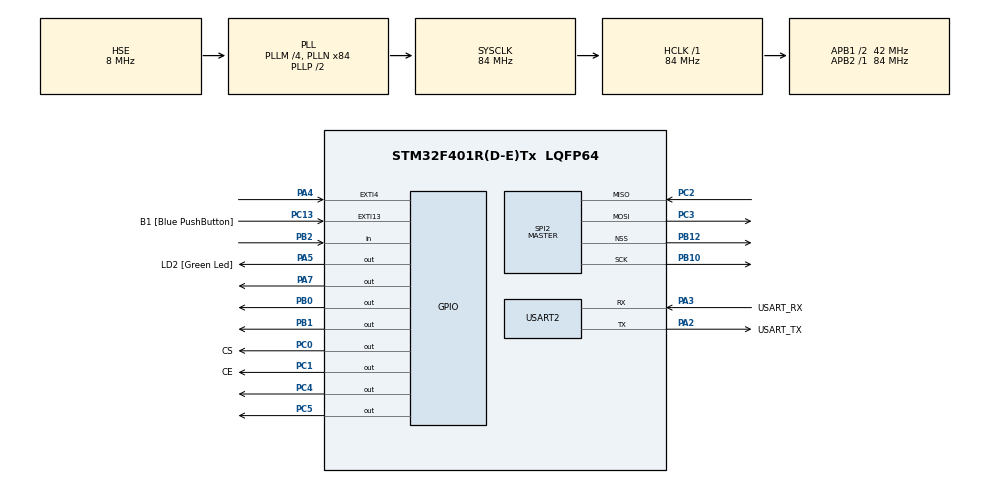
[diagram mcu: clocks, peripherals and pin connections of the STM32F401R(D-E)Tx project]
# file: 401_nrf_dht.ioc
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Mcu.Family=STM32F4
PC3.Mode=Full_Duplex_Master
PA2.GPIO_PuPd=GPIO_NOPULL
SPI2.VirtualNSS=VM_NSSHARD
RCC.CortexFreq_Value=84000000
SPI2.VirtualType=VM_MASTER
PB10.Mode=Full_Duplex_Master
PA14.GPIO_Label=TCK
PA3.GPIO_PuPd=GPIO_NOPULL
PA2.GPIO_Speed=GPIO_SPEED_FREQ_LOW
PC0.GPIO_Label=CS
PA3.GPIO_Speed=GPIO_SPEED_FREQ_LOW
RCC.SYSCLKSource=RCC_SYSCLKSOURCE_PLLCLK
ProjectManager.StackSize=0x400
PH0\ -\ OSC_IN.Signal=RCC_OSC_IN
RCC.HCLKFreq_Value=84000000
RCC.APB2TimFreq_Value=84000000
PC3.Signal=SPI2_MOSI
RCC.AHBFreq_Value=84000000
NVIC.EXTI15_10_IRQn=true\:0\:0\:false\:false\:true\:true\:true
RCC.HSE_VALUE=8000000
PB2.Signal=GPIO_Input
PC13-ANTI_TAMP.Signal=GPXTI13
PC14-OSC32_IN.Mode=LSE-External-Oscillator
PA14.Mode=Serial_Wire
PA5.GPIO_PuPd=GPIO_NOPULL
NVIC.TIM2_IRQn=true\:0\:0\:false\:false\:true\:true\:true
Mcu.Package=LQFP64
PB1.Signal=GPIO_Output
PB12.Mode=NSS_Signal_Hard_Output
SPI2.Mode=SPI_MODE_MASTER
USART2.VirtualMode=VM_ASYNC
PA2.GPIO_Label=USART_TX
RCC.APB1TimFreq_Value=84000000
SPI2.Direction=SPI_DIRECTION_2LINES
PC5.Signal=GPIO_Output
VP_TIM3_VS_ClockSourceINT.Mode=Internal
PA3.Signal=USART2_RX
PA2.GPIO_Mode=GPIO_MODE_AF_PP
PB3.GPIO_Label=SWO
RCC.PLLSourceVirtual=RCC_PLLSOURCE_HSE
PC15-OSC32_OUT.Mode=LSE-External-Oscillator
NVIC.EXTI4_IRQn=true\:0\:0\:false\:false\:true\:true\:true
PC13-ANTI_TAMP.GPIO_PuPd=GPIO_NOPULL
PC13-ANTI_TAMP.GPIO_Label=B1 [Blue PushButton]
PH1\ -\ OSC_OUT.Mode=HSE-External-Clock-Source
PC2.Signal=SPI2_MISO
PC4.Signal=GPIO_Output
PC2.Mode=Full_Duplex_Master
PC0.Signal=GPIO_Output
RCC.APB1CLKDivider=RCC_HCLK_DIV2
PC14-OSC32_IN.Signal=RCC_OSC32_IN
PA13.Signal=SYS_JTMS-SWDIO
PA3.Mode=Asynchronous
PH0\ -\ OSC_IN.Mode=HSE-External-Clock-Source
ProjectManager.TargetToolchain=TrueSTUDIO
PA3.GPIO_Mode=GPIO_MODE_AF_PP
PC15-OSC32_OUT.Signal=RCC_OSC32_OUT
PB10.Signal=SPI2_SCK
PA5.Signal=GPIO_Output
PH1\ -\ OSC_OUT.Signal=RCC_OSC_OUT
board=NUCLEO-F401RE
RCC.VCOOutputFreq_Value=168000000
NVIC.TIM3_IRQn=true\:0\:0\:false\:false\:true\:true\:true
RCC.APB2Freq_Value=84000000
VP_TIM2_VS_ClockSourceINT.Mode=Internal
PC1.GPIO_Label=CE
PA13.Mode=Serial_Wire
Mcu.Name=STM32F401R(D-E)Tx
PA2.Signal=USART2_TX
PA13.GPIO_Label=TMS
RCC.48MHZClocksFreq_Value=24000000
PB3.Signal=SYS_JTDO-SWO
PA4.Signal=GPXTI4
RCC.SYSCLKFreq_VALUE=84000000
PA5.GPIO_Label=LD2 [Green Led]
PC13-ANTI_TAMP.GPIO_ModeDefaultEXTI=GPIO_MODE_IT_FALLING
PA14.Signal=SYS_JTCK-SWCLK
ProjectManager.HeapSize=0x200
RCC.HSI_VALUE=16000000
VP_TIM4_VS_ClockSourceINT.Mode=Internal
PA5.GPIO_Speed=GPIO_SPEED_FREQ_LOW
RCC.PLLQ=7
NVIC.PriorityGroup=NVIC_PRIORITYGROUP_0
RCC.PLLM=4
RCC.PLLN=84
PA2.Mode=Asynchronous
RCC.APB1Freq_Value=42000000
PA5.GPIO_Mode=GPIO_MODE_OUTPUT_PP
PB0.Signal=GPIO_Output
PC1.Signal=GPIO_Output
PB12.Signal=SPI2_NSS
PA3.GPIO_Label=USART_RX
PA7.Signal=GPIO_Output

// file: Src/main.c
/* USER CODE BEGIN Header */
/**
  ******************************************************************************
  * @file           : main.c
  * @brief          : Main program body
  ******************************************************************************
  * @attention
  *
  * <h2><center>&copy; Copyright (c) 2020 STMicroelectronics.
  * All rights reserved.</center></h2>
  *
  * This software component is licensed by ST under BSD 3-Clause license,
  * the "License"; You may not use this file except in compliance with the
  * License. You may obtain a copy of the License at:
  *                        opensource.org/licenses/BSD-3-Clause
  *
  ******************************************************************************
  */
/* USER CODE END Header */

#include "main.h"

/* USER CODE BEGIN Includes */
#include "nrf24l01.h"
#include "string.h"
#include "stdio.h"
#include "stdint.h"
#include "stdbool.h"

extern SPI_HandleTypeDef hspi1;

static void error() {
    while (true) {
        HAL_GPIO_TogglePin(LD2_GPIO_Port, LD2_Pin);
        HAL_Delay(100);
    }
}

static const uint8_t rx_address[5] = {1, 2, 3, 4, 5};
static const uint8_t tx_address[5] = {1, 2, 3, 4, 6};
nrf24l01 nrf;
uint32_t rx_data;
void send_RF_messages (uint8_t *ffer);
static const uint8_t *intteriiger ="from interrupt   \n\r";
extern uint8_t buffer[1000];
uint16_t counter=0,flag=0;
uint8_t ffer[1000];
extern uint8_t *redata;

extern uint8_t recivingmsgflag;

/* USER CODE END Includes */

SPI_HandleTypeDef hspi2;

TIM_HandleTypeDef htim2;
TIM_HandleTypeDef htim3;
TIM_HandleTypeDef htim4;

UART_HandleTypeDef huart2;

/* USER CODE BEGIN PV */
static const char *Led_off= "ld1n";
static const char *Led_on= "ld1f";
static const char *relay1_off= "relay1_off";
static const char *relay1_on= "relay1_on";
static const char *relay2_off= "relay2_off";
static const char *relay2_on= "relay2_on";
static const char *relay3_off= "relay3_off";
static const char *relay3_on= "relay3_on";
static void parsemesage(uint8_t *recdata);
/* USER CODE END PV */

void SystemClock_Config(void);
static void MX_GPIO_Init(void);
static void MX_SPI2_Init(void);
static void MX_TIM2_Init(void);
static void MX_TIM3_Init(void);
static void MX_TIM4_Init(void);
static void MX_USART2_UART_Init(void);

int main(void)
{

  /* MCU Configuration--------------------------------------------------------*/

  /* Reset of all peripherals, Initializes the Flash interface and he Systick. */
  HAL_Init();

  /* USER CODE BEGIN Init */
  uint8_t buffer[4];
  /* USER CODE END Init */

  /* Configure the system clock */
  SystemClock_Config();

  /* Initialize all configured peripherals */
  MX_GPIO_Init();
  MX_SPI2_Init();
  MX_TIM2_Init();
  MX_TIM3_Init();
  MX_TIM4_Init();
  MX_USART2_UART_Init();
  /* USER CODE BEGIN 2 */
  memset(ffer, 0, sizeof(ffer));
  sprintf(ffer," stm32f401!\n\r ");

  {
      nrf24l01_config config;
      config.data_rate        = NRF_DATA_RATE_1MBPS;
      config.tx_power         = NRF_TX_PWR_0dBm;
      config.crc_width        = NRF_CRC_WIDTH_1B;
      config.addr_width       = NRF_ADDR_WIDTH_5;
      config.payload_length   = 4;    // maximum is 32 bytes
      config.retransmit_count = 15;   // maximum is 15 times
      config.retransmit_delay = 0x0F; // 4000us, LSB:250us
      config.rf_channel       = 11;
      config.rx_address       = rx_address;
      config.tx_address       = tx_address;
      config.rx_buffer        = (uint8_t*)&rx_data;
      config.spi         = &hspi2;
      config.spi_timeout = 10; // milliseconds
      config.ce_port     = CE_GPIO_Port;
      config.ce_pin      = CE_Pin;
      config.csn_pin     = CS_Pin;
      config.csn_port    = CS_GPIO_Port;
      config.irq_port    = NRF_IRQ_GPIO_Port;
      config.irq_pin     = NRF_IRQ_Pin;
      nrf_init(&nrf, &config);
  }
  memset(ffer, 0, sizeof(ffer));
  sprintf(ffer," starting!\n\r ");
  HAL_UART_Transmit(&huart2,ffer,strlen(ffer),1000);
  uint16_t i=0,t=0;
  i=sizeof(ffer);
 uint16_t u=0;
 while (i){
	  int t=4,g=0;
	  while (t){
		  t--;
		  if(ffer[u]!= 0){
		  buffer[g]=ffer[u];
		  g++;
		  u++;
		  }
		  else{
			  i=0;
		      break;
		  }
	  }
	  nrf_send_packet_noack(&nrf, buffer);
 }
 if(HAL_TIM_Base_Init(&htim2) != HAL_OK)
 {
   /* Initialization Error */
   Error_Handler();
 }

 /*##-2- Start the TIM Base generation in interrupt mode ####################*/
 /* Start Channel1 */
 if(HAL_TIM_Base_Start_IT(&htim2) != HAL_OK)
 {
   /* Starting Error */
   Error_Handler();
 }
char parse[12];
  /* USER CODE END 2 */

  /* Infinite loop */
  /* USER CODE BEGIN WHILE */
  while (1)
  {

        if(flag!=0&&recivingmsgflag ==0){
            flag=0;
        HAL_TIM_Base_Stop_IT(&htim2);
        if(counter>99){counter=0;}
         memset(ffer, 0, sizeof(ffer));
         sprintf(ffer,"st%d",counter++);
         nrf_flush_tx(&nrf);
          send_RF_messages(ffer);
        HAL_TIM_Base_Start_IT(&htim2);
        }

        if(recivingmsgflag ==1){
        	recivingmsgflag=0;
            memset(parse, 0, sizeof(parse));
        	memcpy(parse,redata,sizeof(char)*4);
            parsemesage(parse);
        }

    /* USER CODE END WHILE */

  }
}

void SystemClock_Config(void)
{
  RCC_OscInitTypeDef RCC_OscInitStruct = {0};
  RCC_ClkInitTypeDef RCC_ClkInitStruct = {0};

  /** Configure the main internal regulator output voltage
  */
  __HAL_RCC_PWR_CLK_ENABLE();
  __HAL_PWR_VOLTAGESCALING_CONFIG(PWR_REGULATOR_VOLTAGE_SCALE2);
  /** Initializes the CPU, AHB and APB busses clocks
  */
  RCC_OscInitStruct.OscillatorType = RCC_OSCILLATORTYPE_HSE;
  RCC_OscInitStruct.HSEState = RCC_HSE_BYPASS;
  RCC_OscInitStruct.PLL.PLLState = RCC_PLL_ON;
  RCC_OscInitStruct.PLL.PLLSource = RCC_PLLSOURCE_HSE;
  RCC_OscInitStruct.PLL.PLLM = 4;
  RCC_OscInitStruct.PLL.PLLN = 84;
  RCC_OscInitStruct.PLL.PLLP = RCC_PLLP_DIV2;
  RCC_OscInitStruct.PLL.PLLQ = 7;
  if (HAL_RCC_OscConfig(&RCC_OscInitStruct) != HAL_OK)
  {
    Error_Handler();
  }
  /** Initializes the CPU, AHB and APB busses clocks
  */
  RCC_ClkInitStruct.ClockType = RCC_CLOCKTYPE_HCLK|RCC_CLOCKTYPE_SYSCLK
                              |RCC_CLOCKTYPE_PCLK1|RCC_CLOCKTYPE_PCLK2;
  RCC_ClkInitStruct.SYSCLKSource = RCC_SYSCLKSOURCE_PLLCLK;
  RCC_ClkInitStruct.AHBCLKDivider = RCC_SYSCLK_DIV1;
  RCC_ClkInitStruct.APB1CLKDivider = RCC_HCLK_DIV2;
  RCC_ClkInitStruct.APB2CLKDivider = RCC_HCLK_DIV1;

  if (HAL_RCC_ClockConfig(&RCC_ClkInitStruct, FLASH_LATENCY_2) != HAL_OK)
  {
    Error_Handler();
  }
}

static void MX_SPI2_Init(void)
{

  /* SPI2 parameter configuration*/
  hspi2.Instance = SPI2;
  hspi2.Init.Mode = SPI_MODE_MASTER;
  hspi2.Init.Direction = SPI_DIRECTION_2LINES;
  hspi2.Init.DataSize = SPI_DATASIZE_8BIT;
  hspi2.Init.CLKPolarity = SPI_POLARITY_LOW;
  hspi2.Init.CLKPhase = SPI_PHASE_1EDGE;
  hspi2.Init.NSS = SPI_NSS_HARD_OUTPUT;
  hspi2.Init.BaudRatePrescaler = SPI_BAUDRATEPRESCALER_16;
  hspi2.Init.FirstBit = SPI_FIRSTBIT_MSB;
  hspi2.Init.TIMode = SPI_TIMODE_DISABLE;
  hspi2.Init.CRCCalculation = SPI_CRCCALCULATION_DISABLE;
  hspi2.Init.CRCPolynomial = 10;
  if (HAL_SPI_Init(&hspi2) != HAL_OK)
  {
    Error_Handler();
  }

}

static void MX_TIM2_Init(void)
{

  TIM_ClockConfigTypeDef sClockSourceConfig = {0};
  TIM_MasterConfigTypeDef sMasterConfig = {0};

  htim2.Instance = TIM2;
  htim2.Init.Prescaler = 830;
  htim2.Init.CounterMode = TIM_COUNTERMODE_UP;
  htim2.Init.Period = 50000-1;
  htim2.Init.ClockDivision = TIM_CLOCKDIVISION_DIV1;
  htim2.Init.AutoReloadPreload = TIM_AUTORELOAD_PRELOAD_DISABLE;
  if (HAL_TIM_Base_Init(&htim2) != HAL_OK)
  {
    Error_Handler();
  }
  sClockSourceConfig.ClockSource = TIM_CLOCKSOURCE_INTERNAL;
  if (HAL_TIM_ConfigClockSource(&htim2, &sClockSourceConfig) != HAL_OK)
  {
    Error_Handler();
  }
  sMasterConfig.MasterOutputTrigger = TIM_TRGO_RESET;
  sMasterConfig.MasterSlaveMode = TIM_MASTERSLAVEMODE_DISABLE;
  if (HAL_TIMEx_MasterConfigSynchronization(&htim2, &sMasterConfig) != HAL_OK)
  {
    Error_Handler();
  }

}

static void MX_TIM3_Init(void)
{

  TIM_ClockConfigTypeDef sClockSourceConfig = {0};
  TIM_MasterConfigTypeDef sMasterConfig = {0};

  htim3.Instance = TIM3;
  htim3.Init.Prescaler = 0;
  htim3.Init.CounterMode = TIM_COUNTERMODE_UP;
  htim3.Init.Period = 0;
  htim3.Init.ClockDivision = TIM_CLOCKDIVISION_DIV1;
  htim3.Init.AutoReloadPreload = TIM_AUTORELOAD_PRELOAD_DISABLE;
  if (HAL_TIM_Base_Init(&htim3) != HAL_OK)
  {
    Error_Handler();
  }
  sClockSourceConfig.ClockSource = TIM_CLOCKSOURCE_INTERNAL;
  if (HAL_TIM_ConfigClockSource(&htim3, &sClockSourceConfig) != HAL_OK)
  {
    Error_Handler();
  }
  sMasterConfig.MasterOutputTrigger = TIM_TRGO_RESET;
  sMasterConfig.MasterSlaveMode = TIM_MASTERSLAVEMODE_DISABLE;
  if (HAL_TIMEx_MasterConfigSynchronization(&htim3, &sMasterConfig) != HAL_OK)
  {
    Error_Handler();
  }

}

static void MX_TIM4_Init(void)
{

  TIM_ClockConfigTypeDef sClockSourceConfig = {0};
  TIM_MasterConfigTypeDef sMasterConfig = {0};

  htim4.Instance = TIM4;
  htim4.Init.Prescaler = 0;
  htim4.Init.CounterMode = TIM_COUNTERMODE_UP;
  htim4.Init.Period = 0;
  htim4.Init.ClockDivision = TIM_CLOCKDIVISION_DIV1;
  htim4.Init.AutoReloadPreload = TIM_AUTORELOAD_PRELOAD_DISABLE;
  if (HAL_TIM_Base_Init(&htim4) != HAL_OK)
  {
    Error_Handler();
  }
  sClockSourceConfig.ClockSource = TIM_CLOCKSOURCE_INTERNAL;
  if (HAL_TIM_ConfigClockSource(&htim4, &sClockSourceConfig) != HAL_OK)
  {
    Error_Handler();
  }
  sMasterConfig.MasterOutputTrigger = TIM_TRGO_RESET;
  sMasterConfig.MasterSlaveMode = TIM_MASTERSLAVEMODE_DISABLE;
  if (HAL_TIMEx_MasterConfigSynchronization(&htim4, &sMasterConfig) != HAL_OK)
  {
    Error_Handler();
  }

}

static void MX_USART2_UART_Init(void)
{

  huart2.Instance = USART2;
  huart2.Init.BaudRate = 115200;
  huart2.Init.WordLength = UART_WORDLENGTH_8B;
  huart2.Init.StopBits = UART_STOPBITS_1;
  huart2.Init.Parity = UART_PARITY_NONE;
  huart2.Init.Mode = UART_MODE_TX_RX;
  huart2.Init.HwFlowCtl = UART_HWCONTROL_NONE;
  huart2.Init.OverSampling = UART_OVERSAMPLING_16;
  if (HAL_UART_Init(&huart2) != HAL_OK)
  {
    Error_Handler();
  }

}

static void MX_GPIO_Init(void)
{
  GPIO_InitTypeDef GPIO_InitStruct = {0};

  /* GPIO Ports Clock Enable */
  __HAL_RCC_GPIOC_CLK_ENABLE();
  __HAL_RCC_GPIOH_CLK_ENABLE();
  __HAL_RCC_GPIOA_CLK_ENABLE();
  __HAL_RCC_GPIOB_CLK_ENABLE();

  /*Configure GPIO pin Output Level */
  HAL_GPIO_WritePin(GPIOC, CS_Pin|CE_Pin|GPIO_PIN_4|GPIO_PIN_5, GPIO_PIN_RESET);

  /*Configure GPIO pin Output Level */
  HAL_GPIO_WritePin(GPIOA, LD2_Pin|GPIO_PIN_7, GPIO_PIN_RESET);

  /*Configure GPIO pin Output Level */
  HAL_GPIO_WritePin(GPIOB, GPIO_PIN_0|GPIO_PIN_1, GPIO_PIN_RESET);

  /*Configure GPIO pin : B1_Pin */
  GPIO_InitStruct.Pin = B1_Pin;
  GPIO_InitStruct.Mode = GPIO_MODE_IT_RISING;
  GPIO_InitStruct.Pull = GPIO_NOPULL;
  HAL_GPIO_Init(B1_GPIO_Port, &GPIO_InitStruct);

  /*Configure GPIO pins : CS_Pin CE_Pin PC4 PC5 */
  GPIO_InitStruct.Pin = CS_Pin|CE_Pin|GPIO_PIN_4|GPIO_PIN_5;
  GPIO_InitStruct.Mode = GPIO_MODE_OUTPUT_PP;
  GPIO_InitStruct.Pull = GPIO_NOPULL;
  GPIO_InitStruct.Speed = GPIO_SPEED_FREQ_LOW;
  HAL_GPIO_Init(GPIOC, &GPIO_InitStruct);

  /*Configure GPIO pin : PA4 */
  GPIO_InitStruct.Pin = GPIO_PIN_4;
  GPIO_InitStruct.Mode = GPIO_MODE_IT_FALLING;
  GPIO_InitStruct.Pull = GPIO_NOPULL;
  HAL_GPIO_Init(GPIOA, &GPIO_InitStruct);

  /*Configure GPIO pins : LD2_Pin PA7 */
  GPIO_InitStruct.Pin = LD2_Pin|GPIO_PIN_7;
  GPIO_InitStruct.Mode = GPIO_MODE_OUTPUT_PP;
  GPIO_InitStruct.Pull = GPIO_NOPULL;
  GPIO_InitStruct.Speed = GPIO_SPEED_FREQ_LOW;
  HAL_GPIO_Init(GPIOA, &GPIO_InitStruct);

  /*Configure GPIO pins : PB0 PB1 */
  GPIO_InitStruct.Pin = GPIO_PIN_0|GPIO_PIN_1;
  GPIO_InitStruct.Mode = GPIO_MODE_OUTPUT_PP;
  GPIO_InitStruct.Pull = GPIO_NOPULL;
  GPIO_InitStruct.Speed = GPIO_SPEED_FREQ_LOW;
  HAL_GPIO_Init(GPIOB, &GPIO_InitStruct);

  /*Configure GPIO pin : PB2 */
  GPIO_InitStruct.Pin = GPIO_PIN_2;
  GPIO_InitStruct.Mode = GPIO_MODE_INPUT;
  GPIO_InitStruct.Pull = GPIO_NOPULL;
  HAL_GPIO_Init(GPIOB, &GPIO_InitStruct);

  /* EXTI interrupt init*/
  HAL_NVIC_SetPriority(EXTI4_IRQn, 0, 0);
  HAL_NVIC_EnableIRQ(EXTI4_IRQn);

  HAL_NVIC_SetPriority(EXTI15_10_IRQn, 0, 0);
  HAL_NVIC_EnableIRQ(EXTI15_10_IRQn);

}

/* USER CODE BEGIN 4 */
void HAL_GPIO_EXTI_Callback(uint16_t GPIO_Pin)
{
	if(GPIO_Pin==NRF_IRQ_Pin){

    nrf_irq_handler(&nrf);
	}
	if(GPIO_Pin==B1_Pin){
		  flag=1;
	}
}
void HAL_TIM_PeriodElapsedCallback(TIM_HandleTypeDef *htim)
{
  if (htim == &htim2 )
  {
	  flag=1;
	//  HAL_GPIO_TogglePin(LD2_GPIO_Port,LD2_Pin);
  }
  if (htim == &htim3 )
  {

  }
}
 void send_RF_messages (uint8_t *ffer){
	  uint16_t i=0;
	  i=sizeof(ffer);
	 uint16_t u=0;
	 while (i){
		 int t=4,g=0;
     while (t){t--;
			  if(*ffer!= 0){
			  buffer[g]=*ffer;
			  g++;
			  *ffer ++;
			  }
			  else{
				  i=0;
			      break;
			  }
		  }
		  nrf_send_packet(&nrf, buffer);
	 }
}

static void parsemesage(uint8_t *recdata){
	char ffer2[40],buffer2[20];
    char *p1, *p2;
    int y=0;
    memset(ffer2, 0, sizeof(ffer2));
	memcpy(ffer2,recdata,sizeof(char)*4);

 /*   for(int g=0;g<12;g++){
      buffer2[g]=*(recdata++);
    }
    p1=strtok(buffer2,"$");

    while(p1 !=NULL){strcpy(buffer3,p1);

 }*/
//	HAL_UART_Transmit(&huart2,buffer2,strlen(buffer2),1000);

  /*  p1=strchr(buffer2, '$');
    p2=strrchr(buffer2, '$');
    y=p2-p1;
    for (int h=0;h<y;y++){
    	  if(h>0){buffer3[h-1]=buffer2[h];}

    }
	HAL_UART_Transmit(&huart2,buffer2,strlen(buffer2),1000);
*/
    if(strstr(ffer2,Led_on)!= NULL){
        sprintf(buffer2,"settings %s\r\n", ffer2);
     	HAL_UART_Transmit(&huart2,buffer2,strlen(buffer2),1000);
    HAL_GPIO_WritePin(LD2_GPIO_Port,LD2_Pin,GPIO_PIN_SET);}
    if(strstr(ffer2,Led_off)!= NULL){
      sprintf(buffer2,"settings %s\r\n", ffer2);
  	HAL_UART_Transmit(&huart2,buffer2,strlen(buffer2),1000);
    HAL_GPIO_WritePin(LD2_GPIO_Port,LD2_Pin,GPIO_PIN_RESET);
    }
    memset(buffer2, 0, sizeof(buffer2));

}
/* USER CODE END 4 */

void Error_Handler(void)
{
}

/************************ (C) COPYRIGHT STMicroelectronics *****END OF FILE****/
